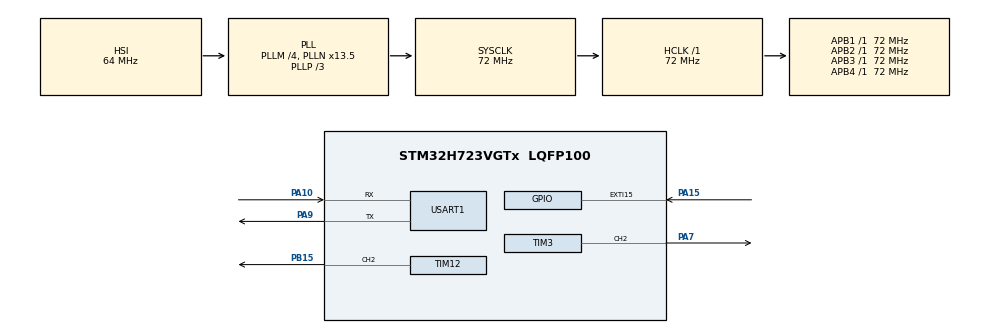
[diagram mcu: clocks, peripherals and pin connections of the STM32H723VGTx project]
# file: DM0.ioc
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CORTEX_M7.default_mode_Activation=1
Dma.Request0=TIM3_CH2
Dma.Request1=USART1_RX
Dma.TIM3_CH2.0.Direction=DMA_MEMORY_TO_PERIPH
Dma.TIM3_CH2.0.EventEnable=DISABLE
Dma.TIM3_CH2.0.FIFOMode=DMA_FIFOMODE_DISABLE
Dma.TIM3_CH2.0.Instance=DMA1_Stream0
Dma.TIM3_CH2.0.MemDataAlignment=DMA_MDATAALIGN_HALFWORD
Dma.TIM3_CH2.0.MemInc=DMA_MINC_ENABLE
Dma.TIM3_CH2.0.Mode=DMA_NORMAL
Dma.TIM3_CH2.0.PeriphDataAlignment=DMA_PDATAALIGN_HALFWORD
Dma.TIM3_CH2.0.PeriphInc=DMA_PINC_DISABLE
Dma.TIM3_CH2.0.Polarity=HAL_DMAMUX_REQ_GEN_RISING
Dma.TIM3_CH2.0.Priority=DMA_PRIORITY_LOW
Dma.TIM3_CH2.0.RequestNumber=1
Dma.TIM3_CH2.0.SignalID=NONE
Dma.TIM3_CH2.0.SyncEnable=DISABLE
Dma.TIM3_CH2.0.SyncPolarity=HAL_DMAMUX_SYNC_NO_EVENT
Dma.TIM3_CH2.0.SyncRequestNumber=1
Dma.TIM3_CH2.0.SyncSignalID=NONE
Dma.USART1_RX.1.Direction=DMA_PERIPH_TO_MEMORY
Dma.USART1_RX.1.EventEnable=DISABLE
Dma.USART1_RX.1.FIFOMode=DMA_FIFOMODE_DISABLE
Dma.USART1_RX.1.Instance=DMA1_Stream1
Dma.USART1_RX.1.MemDataAlignment=DMA_MDATAALIGN_BYTE
Dma.USART1_RX.1.MemInc=DMA_MINC_ENABLE
Dma.USART1_RX.1.Mode=DMA_NORMAL
Dma.USART1_RX.1.PeriphDataAlignment=DMA_PDATAALIGN_BYTE
Dma.USART1_RX.1.PeriphInc=DMA_PINC_DISABLE
Dma.USART1_RX.1.Polarity=HAL_DMAMUX_REQ_GEN_RISING
Dma.USART1_RX.1.Priority=DMA_PRIORITY_LOW
Dma.USART1_RX.1.RequestNumber=1
Dma.USART1_RX.1.SignalID=NONE
Dma.USART1_RX.1.SyncEnable=DISABLE
Dma.USART1_RX.1.SyncPolarity=HAL_DMAMUX_SYNC_NO_EVENT
Dma.USART1_RX.1.SyncRequestNumber=1
Dma.USART1_RX.1.SyncSignalID=NONE
Mcu.Family=STM32H7
Mcu.Name=STM32H723VGTx
Mcu.Package=LQFP100
NVIC.DMA1_Stream0_IRQn=true\:0\:0\:false\:false\:true\:false\:true\:true
NVIC.DMA1_Stream1_IRQn=true\:0\:0\:false\:false\:true\:false\:true\:true
NVIC.EXTI15_10_IRQn=true\:2\:0\:true\:false\:true\:true\:true\:true
NVIC.PriorityGroup=NVIC_PRIORITYGROUP_4
NVIC.USART1_IRQn=true\:0\:0\:false\:false\:true\:true\:true\:true
PA10.Mode=Asynchronous
PA10.Signal=USART1_RX
PA13(JTMS/SWDIO).Mode=Serial_Wire
PA13(JTMS/SWDIO).Signal=DEBUG_JTMS-SWDIO
PA14(JTCK/SWCLK).Mode=Serial_Wire
PA14(JTCK/SWCLK).Signal=DEBUG_JTCK-SWCLK
PA15(JTDI).GPIO_ModeDefaultEXTI=GPIO_MODE_IT_FALLING
PA15(JTDI).GPIO_PuPd=GPIO_PULLUP
PA15(JTDI).Signal=GPXTI15
PA7.GPIO_ModeDefaultPP=GPIO_MODE_AF_PP
PA7.GPIO_Speed=GPIO_SPEED_FREQ_HIGH
PA7.Signal=S_TIM3_CH2
PA9.Mode=Asynchronous
PA9.Signal=USART1_TX
PB15.Signal=S_TIM12_CH2
PH0-OSC_IN.Mode=HSE-External-Oscillator
PH0-OSC_IN.Signal=RCC_OSC_IN
PH1-OSC_OUT.Mode=HSE-External-Oscillator
PH1-OSC_OUT.Signal=RCC_OSC_OUT
ProjectManager.HeapSize=0x200
ProjectManager.StackSize=0x400
ProjectManager.TargetToolchain=CMake
RCC.ADCFreq_Value=129000000
RCC.APB1Freq_Value=72000000
RCC.APB2Freq_Value=72000000
RCC.APB3Freq_Value=72000000
RCC.APB4Freq_Value=72000000
RCC.CortexFreq_Value=72000000
RCC.DIVM1=4
RCC.DIVN1=13
RCC.DIVP1=3
RCC.HCLKFreq_Value=72000000
RCC.PLL2FRACN=0
RCC.PLL3FRACN=0
RCC.PLLFRACN=4096
RCC.SYSCLKFreq_VALUE=72000000
RCC.SYSCLKSource=RCC_SYSCLKSOURCE_PLLCLK
RCC.USBFreq_Value=108000000
SH.S_TIM12_CH2.0=TIM12_CH2,PWM Generation2 CH2
SH.S_TIM3_CH2.0=TIM3_CH2,PWM Generation2 CH2
TIM12.Channel-PWM\ Generation2\ CH2=TIM_CHANNEL_2
TIM12.Period=500-1
TIM12.Prescaler=72-1
TIM3.Channel-PWM\ Generation2\ CH2=TIM_CHANNEL_2
TIM3.Period=90-1
USART1.VirtualMode-Asynchronous=VM_ASYNC
VP_MEMORYMAP_VS_MEMORYMAP.Mode=CurAppReg
VP_TIM12_VS_ClockSourceINT.Mode=Internal
VP_TIM3_VS_ClockSourceINT.Mode=Internal
board=custom

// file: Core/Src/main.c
/* USER CODE BEGIN Header */
/**
  ******************************************************************************
  * @file           : main.c
  * @brief          : Main program body
  ******************************************************************************
  * @attention
  *
  * Copyright (c) 2026 STMicroelectronics.
  * All rights reserved.
  *
  * This software is licensed under terms that can be found in the LICENSE file
  * in the root directory of this software component.
  * If no LICENSE file comes with this software, it is provided AS-IS.
  *
  ******************************************************************************
  */
/* USER CODE END Header */
#include "main.h"
#include "dma.h"
#include "tim.h"
#include "usart.h"
#include "gpio.h"

/* USER CODE BEGIN Includes */
#include <string.h>
#include "bsp_ws2812.h"
#include <stdio.h>
#include "bsp_buzzer.h"
#include "bsp_uart.h"
/* USER CODE END Includes */

void SystemClock_Config(void);
static void MPU_Config(void);

/* USER CODE BEGIN 0 */
uint8_t text_buffer[100];
uint16_t text_len = 0;
/* USER CODE END 0 */

int main(void)
{

  /* MPU Configuration--------------------------------------------------------*/
  MPU_Config();

  /* MCU Configuration--------------------------------------------------------*/

  /* Reset of all peripherals, Initializes the Flash interface and the Systick. */
  HAL_Init();

  /* Configure the system clock */
  SystemClock_Config();

  /* Initialize all configured peripherals */
  MX_GPIO_Init();
  MX_DMA_Init();
  MX_TIM3_Init();
  MX_USART1_UART_Init();
  MX_TIM12_Init();
  /* USER CODE BEGIN 2 */

  buzzer_init();
  ws2812_SetBrightness(10);
  ws2812_SetColor(200,0,100);
  ws2812_Update();
  uart_init(&huart1, &usart1);

  /* USER CODE END 2 */

  /* Infinite loop */
  /* USER CODE BEGIN WHILE */
  while (1)
  {
    if (uart_getdata(&huart1, text_buffer, &text_len) == 1)
    {
      uart_send(&huart1, text_buffer, text_len);
    }
    if (uart_is_tx_complete(&huart1) == 1)
    {
      ws2812_SetBrightness(10);
      ws2812_SetColor(0, 200, 0);
      ws2812_Update();
    }

    /* USER CODE END WHILE */

  }
}

void SystemClock_Config(void)
{
  RCC_OscInitTypeDef RCC_OscInitStruct = {0};
  RCC_ClkInitTypeDef RCC_ClkInitStruct = {0};

  /** Supply configuration update enable
  */
  HAL_PWREx_ConfigSupply(PWR_LDO_SUPPLY);

  /** Configure the main internal regulator output voltage
  */
  __HAL_PWR_VOLTAGESCALING_CONFIG(PWR_REGULATOR_VOLTAGE_SCALE3);

  while(!__HAL_PWR_GET_FLAG(PWR_FLAG_VOSRDY)) {}

  /** Initializes the RCC Oscillators according to the specified parameters
  * in the RCC_OscInitTypeDef structure.
  */
  RCC_OscInitStruct.OscillatorType = RCC_OSCILLATORTYPE_HSI;
  RCC_OscInitStruct.HSIState = RCC_HSI_DIV1;
  RCC_OscInitStruct.HSICalibrationValue = 64;
  RCC_OscInitStruct.PLL.PLLState = RCC_PLL_ON;
  RCC_OscInitStruct.PLL.PLLSource = RCC_PLLSOURCE_HSI;
  RCC_OscInitStruct.PLL.PLLM = 4;
  RCC_OscInitStruct.PLL.PLLN = 13;
  RCC_OscInitStruct.PLL.PLLP = 3;
  RCC_OscInitStruct.PLL.PLLQ = 2;
  RCC_OscInitStruct.PLL.PLLR = 2;
  RCC_OscInitStruct.PLL.PLLRGE = RCC_PLL1VCIRANGE_3;
  RCC_OscInitStruct.PLL.PLLVCOSEL = RCC_PLL1VCOWIDE;
  RCC_OscInitStruct.PLL.PLLFRACN = 4096;
  if (HAL_RCC_OscConfig(&RCC_OscInitStruct) != HAL_OK)
  {
    Error_Handler();
  }

  /** Initializes the CPU, AHB and APB buses clocks
  */
  RCC_ClkInitStruct.ClockType = RCC_CLOCKTYPE_HCLK|RCC_CLOCKTYPE_SYSCLK
                              |RCC_CLOCKTYPE_PCLK1|RCC_CLOCKTYPE_PCLK2
                              |RCC_CLOCKTYPE_D3PCLK1|RCC_CLOCKTYPE_D1PCLK1;
  RCC_ClkInitStruct.SYSCLKSource = RCC_SYSCLKSOURCE_PLLCLK;
  RCC_ClkInitStruct.SYSCLKDivider = RCC_SYSCLK_DIV1;
  RCC_ClkInitStruct.AHBCLKDivider = RCC_HCLK_DIV1;
  RCC_ClkInitStruct.APB3CLKDivider = RCC_APB3_DIV1;
  RCC_ClkInitStruct.APB1CLKDivider = RCC_APB1_DIV1;
  RCC_ClkInitStruct.APB2CLKDivider = RCC_APB2_DIV1;
  RCC_ClkInitStruct.APB4CLKDivider = RCC_APB4_DIV1;

  if (HAL_RCC_ClockConfig(&RCC_ClkInitStruct, FLASH_LATENCY_2) != HAL_OK)
  {
    Error_Handler();
  }
}

 /* MPU Configuration */

void MPU_Config(void)
{
  MPU_Region_InitTypeDef MPU_InitStruct = {0};

  /* Disables the MPU */
  HAL_MPU_Disable();

  /** Initializes and configures the Region and the memory to be protected
  */
  MPU_InitStruct.Enable = MPU_REGION_ENABLE;
  MPU_InitStruct.Number = MPU_REGION_NUMBER0;
  MPU_InitStruct.BaseAddress = 0x0;
  MPU_InitStruct.Size = MPU_REGION_SIZE_4GB;
  MPU_InitStruct.SubRegionDisable = 0x87;
  MPU_InitStruct.TypeExtField = MPU_TEX_LEVEL0;
  MPU_InitStruct.AccessPermission = MPU_REGION_NO_ACCESS;
  MPU_InitStruct.DisableExec = MPU_INSTRUCTION_ACCESS_DISABLE;
  MPU_InitStruct.IsShareable = MPU_ACCESS_SHAREABLE;
  MPU_InitStruct.IsCacheable = MPU_ACCESS_NOT_CACHEABLE;
  MPU_InitStruct.IsBufferable = MPU_ACCESS_NOT_BUFFERABLE;

  HAL_MPU_ConfigRegion(&MPU_InitStruct);
  /* Enables the MPU */
  HAL_MPU_Enable(MPU_PRIVILEGED_DEFAULT);

}

void Error_Handler(void)
{
  __disable_irq();
  while (1)
  {
  }
}
